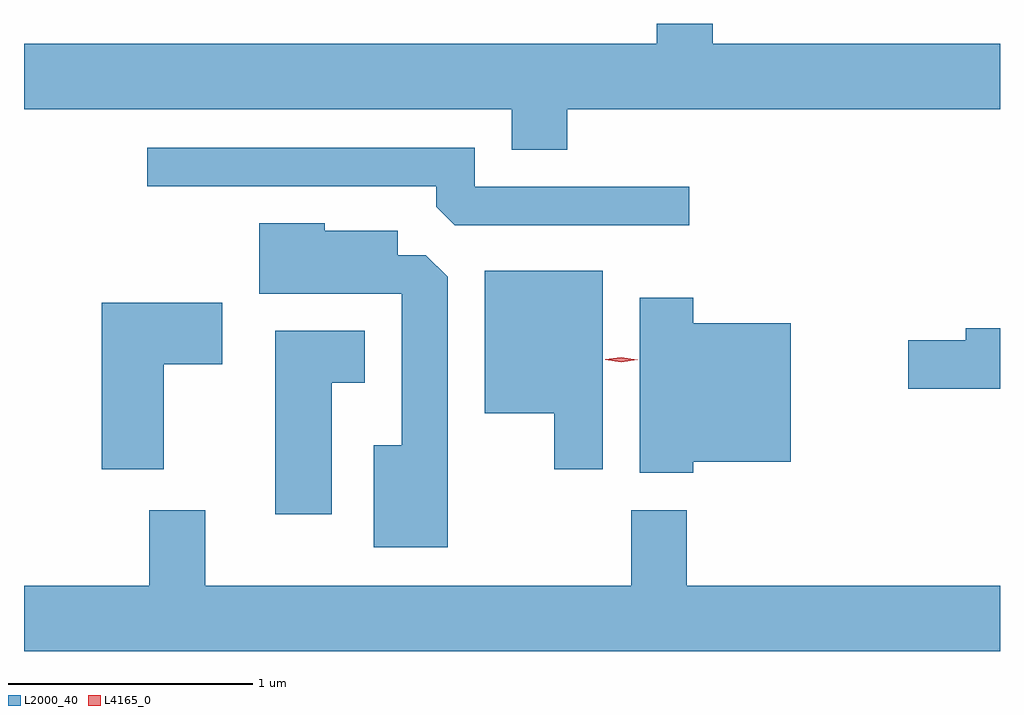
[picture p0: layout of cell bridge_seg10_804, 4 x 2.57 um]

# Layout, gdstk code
import gdstk
lib = gdstk.Library(unit=1e-6, precision=1e-09)
def P(c, l, *ps):  # polygons
    for p in ps: c.add(gdstk.Polygon(p, *l))
L2000_40 = (2000, 40)
L4165_0 = (4165, 0)

bridge_seg10_804 = lib.new_cell('bridge_seg10_804')
P(bridge_seg10_804, L2000_40, [(266.039,2129.456),(267.812,2129.456),(267.812,2129.724),(266.634,2129.724),(266.634,2129.806),(266.406,2129.806),(266.406,2129.724),(263.812,2129.724),(263.812,2129.456),(265.811,2129.456),(265.811,2129.291),(266.039,2129.291)],
  [(266.538,2129.139),(265.659,2129.139),(265.659,2129.299),(264.318,2129.299),(264.318,2129.141),(265.501,2129.141),(265.501,2129.057),(265.577,2128.981),(266.538,2128.981)],
  [(265.549,2128.769),(265.459,2128.859),(265.344,2128.859),(265.344,2128.959),(265.044,2128.959),(265.044,2128.989),(264.776,2128.989),(264.776,2128.701),(265.361,2128.701),(265.361,2128.079),(265.246,2128.079),(265.246,2127.661),(265.549,2127.661)],
  [(266.184,2128.794),(265.701,2128.794),(265.701,2128.211),(265.986,2128.211),(265.986,2127.981),(266.184,2127.981)],
  [(266.554,2128.011),(266.954,2128.011),(266.954,2128.579),(266.554,2128.579),(266.554,2128.684),(266.336,2128.684),(266.336,2127.966),(266.554,2127.966)],
  [(264.384,2128.411),(264.624,2128.411),(264.624,2128.664),(264.131,2128.664),(264.131,2127.981),(264.384,2127.981)],
  [(267.812,2128.559),(267.671,2128.559),(267.671,2128.509),(267.436,2128.509),(267.436,2128.311),(267.812,2128.311)],
  [(265.074,2128.336),(265.209,2128.336),(265.209,2128.549),(264.841,2128.549),(264.841,2127.796),(265.074,2127.796)],
  [(267.812,2127.504),(266.529,2127.504),(266.529,2127.814),(266.301,2127.814),(266.301,2127.504),(264.554,2127.504),(264.554,2127.814),(264.326,2127.814),(264.326,2127.504),(263.812,2127.504),(263.812,2127.236),(267.812,2127.236)])
P(bridge_seg10_804, L4165_0, [(266.26,2128.42),(266.194,2128.43),(266.194,2128.431),(266.194,2128.431),(266.26,2128.44),(266.326,2128.43),(266.327,2128.429),(266.326,2128.429)])

lib.write_gds('bridge_seg10_804.gds')
